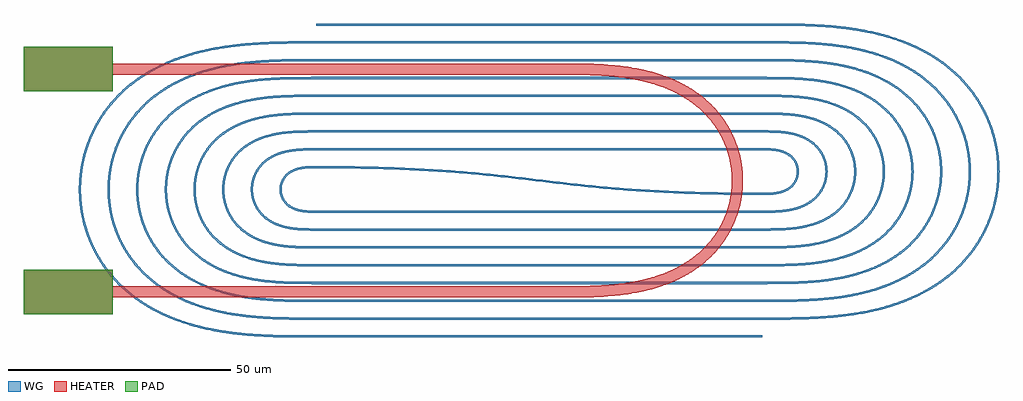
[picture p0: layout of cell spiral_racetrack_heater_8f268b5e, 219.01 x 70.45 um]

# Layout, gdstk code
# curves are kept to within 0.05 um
from math import pi, radians
import gdstk
lib = gdstk.Library(unit=1e-6, precision=1e-09)
def R(c, l, rs):  # rectangles x0, y0, x1, y1
    for r in rs: c.add(gdstk.rectangle(r[:2], r[2:], *l))
def P(c, l, *ps):  # polygons
    for p in ps: c.add(gdstk.Polygon(p, *l))
WG = (3, 0)
HEATER = (39, 0)
PAD = (41, 0)

bend_s_s100_m6_csstrip__ = lib.new_cell('bend_s_S100_m6_CSstrip__cffa29a1')
P(bend_s_s100_m6_csstrip__, WG, [(100,-6.225),(92.721,-6.18),(84.905,-6.015),(79.063,-5.797),(72.74,-5.453),(67.037,-5.035),(60.983,-4.475),(41.416,-2.23),(31.088,-1.267),(24.16,-0.814),(16.294,-0.473),(8.641,-0.29),(0,-0.225),(0,0.225),(7.279,0.18),(15.095,0.015),(20.937,-0.203),(27.26,-0.547),(32.963,-0.965),(39.017,-1.525),(58.584,-3.77),(68.912,-4.733),(75.84,-5.186),(83.706,-5.527),(91.359,-5.71),(100,-5.775)])

bend_euler_r5_a180_p0p5_ = lib.new_cell('bend_euler_R5_A180_P0p5_224e2057')
P(bend_euler_r5_a180_p0p5_, WG, [(0,-0.225),(0,0.225),(1.948,0.263),(3.51,0.454),(4.837,0.843),(5.895,1.405),(6.667,2.069),(7.263,2.89),(7.695,3.992),(7.814,5),(7.695,6.008),(7.263,7.11),(6.667,7.931),(5.895,8.595),(4.837,9.157),(3.51,9.546),(1.948,9.737),(0,9.775),(0,10.225),(1.975,10.186),(3.598,9.988),(4.835,9.641),(5.994,9.069),(6.868,8.372),(7.461,7.649),(7.901,6.825),(8.173,5.93),(8.264,5),(8.173,4.07),(7.901,3.175),(7.461,2.351),(6.868,1.628),(6.301,1.142),(5.511,0.655),(4.661,0.296),(3.777,0.05),(2.698,-0.125)])

straight_l100_csstrip_wn = lib.new_cell('straight_L100_CSstrip_WNone_N2')
R(straight_l100_csstrip_wn, WG, [(0,-0.225,100,0.225)])

bend_euler_r9_a180_p0p5_ = lib.new_cell('bend_euler_R9_A180_P0p5_431cc5ca')
P(bend_euler_r9_a180_p0p5_, WG, [(0,-0.225),(0,0.225),(3.973,0.325),(5.51,0.494),(6.856,0.748),(8.806,1.363),(10.465,2.217),(11.289,2.811),(12.037,3.501),(12.706,4.298),(13.265,5.175),(13.705,6.118),(13.974,6.942),(14.177,7.962),(14.245,9),(14.177,10.038),(13.974,11.058),(13.705,11.882),(13.265,12.825),(12.706,13.702),(12.037,14.499),(11.289,15.189),(10.465,15.783),(8.806,16.637),(6.856,17.252),(5.51,17.506),(3.973,17.675),(0,17.775),(0,18.225),(3.658,18.148),(5.054,18.021),(6.442,17.801),(7.641,17.513),(8.812,17.12),(9.783,16.688),(10.857,16.065),(12.107,15.066),(13.176,13.82),(13.66,13.042),(14.056,12.216),(14.534,10.639),(14.695,9),(14.534,7.361),(14.056,5.784),(13.279,4.332),(12.363,3.19),(11.149,2.138),(9.783,1.312),(8.315,0.698),(6.786,0.271),(4.879,-0.042),(2.785,-0.191)])

bend_euler_r13_a180_p0p_ = lib.new_cell('bend_euler_R13_A180_P0p_0f2faebe')
P(bend_euler_r13_a180_p0p_, WG, [(0,-0.225),(0,0.225),(3.289,0.252),(5.53,0.354),(7.587,0.56),(9.618,0.914),(11.113,1.298),(12.569,1.8),(13.972,2.432),(15.157,3.11),(16.399,4.008),(17.522,5.053),(18.403,6.106),(19.237,7.406),(19.891,8.805),(20.311,10.112),(20.574,11.459),(20.677,13),(20.574,14.541),(20.311,15.888),(19.891,17.195),(19.237,18.594),(18.403,19.894),(17.522,20.947),(16.399,21.992),(15.157,22.89),(13.972,23.568),(12.569,24.2),(11.113,24.702),(9.618,25.086),(7.587,25.44),(5.53,25.646),(3.289,25.748),(0,25.775),(0,26.225),(3.3,26.198),(5.562,26.095),(7.646,25.886),(9.371,25.598),(11.073,25.183),(12.735,24.619),(14.333,23.888),(15.694,23.076),(16.685,22.34),(17.601,21.511),(18.437,20.584),(19.073,19.724),(19.716,18.655),(20.176,17.689),(20.602,16.515),(20.904,15.305),(21.062,14.246),(21.127,13),(21.062,11.754),(20.869,10.521),(20.549,9.314),(20.176,8.311),(19.716,7.345),(19.073,6.276),(18.437,5.416),(17.726,4.616),(16.955,3.887),(15.984,3.124),(15.1,2.544),(14.02,1.952),(11.91,1.08),(9.371,0.402),(6.779,0.011),(3.996,-0.177)])

bend_euler_r17_a180_p0p_ = lib.new_cell('bend_euler_R17_A180_P0p_8af989a6')
P(bend_euler_r17_a180_p0p_, WG, [(0,-0.225),(0,0.225),(3.981,0.253),(7.087,0.384),(9.833,0.651),(12.378,1.082),(14.379,1.58),(16.331,2.238),(18.058,2.995),(19.849,4.002),(21.51,5.205),(23.006,6.605),(24.201,8.053),(25.209,9.637),(26.014,11.333),(26.647,13.281),(26.992,15.126),(27.108,17),(26.992,18.874),(26.647,20.719),(26.014,22.667),(25.209,24.363),(24.201,25.947),(23.006,27.395),(21.51,28.795),(19.849,29.998),(18.058,31.005),(16.331,31.762),(14.379,32.42),(12.378,32.918),(9.833,33.349),(7.087,33.616),(3.981,33.747),(0,33.775),(0,34.225),(3.991,34.197),(7.118,34.065),(9.545,33.839),(12.129,33.429),(14.505,32.852),(16.656,32.118),(18.57,31.25),(20.385,30.186),(21.66,29.254),(22.843,28.205),(23.917,27.043),(24.868,25.78),(25.603,24.581),(26.297,23.159),(26.844,21.675),(27.239,20.144),(27.478,18.58),(27.557,17.176),(27.495,15.595),(27.274,14.029),(26.896,12.493),(26.365,11.003),(25.687,9.574),(24.868,8.22),(24.029,7.092),(23.214,6.17),(22.198,5.198),(20.962,4.214),(19.643,3.346),(18.414,2.67),(17.142,2.081),(15.672,1.518),(14.168,1.053),(12.471,0.641),(9.199,0.121),(5.38,-0.156)])

bend_euler_r21_a180_p0p_ = lib.new_cell('bend_euler_R21_A180_P0p_6250e1cd')
P(bend_euler_r21_a180_p0p_, WG, [(0,-0.225),(0,0.225),(4.99,0.261),(8.766,0.422),(12.35,0.778),(15.388,1.302),(17.876,1.93),(20.302,2.758),(22.485,3.73),(24.562,4.908),(26.63,6.409),(28.377,8.037),(29.816,9.75),(31.127,11.772),(32.169,13.944),(32.926,16.231),(33.385,18.596),(33.539,21),(33.385,23.404),(32.926,25.769),(32.169,28.056),(31.127,30.228),(29.816,32.25),(28.377,33.963),(26.63,35.591),(24.562,37.092),(22.485,38.27),(20.302,39.242),(17.876,40.07),(15.388,40.698),(12.35,41.222),(8.766,41.578),(4.99,41.739),(0,41.775),(0,42.225),(5,42.189),(8.796,42.027),(11.895,41.735),(14.972,41.243),(18.003,40.502),(20.628,39.597),(23.151,38.433),(25.385,37.088),(26.916,35.939),(28.335,34.651),(29.635,33.213),(30.784,31.652),(31.772,29.984),(32.52,28.388),(33.171,26.562),(33.635,24.68),(33.909,22.761),(33.989,21),(33.892,19.064),(33.601,17.147),(33.119,15.269),(32.451,13.449),(31.605,11.705),(30.587,10.055),(29.523,8.65),(28.459,7.474),(27.183,6.285),(25.812,5.212),(24.361,4.253),(22.842,3.406),(21.11,2.6),(19.161,1.864),(17.335,1.31),(15.482,0.862),(13.438,0.483),(11.036,0.166),(6.553,-0.143)])

bend_euler_r25_a180_p0p_ = lib.new_cell('bend_euler_R25_A180_P0p_11fb0ebf')
P(bend_euler_r25_a180_p0p_, WG, [(0,-0.225),(0,0.225),(5.856,0.266),(10.495,0.463),(14.596,0.869),(17.98,1.436),(20.978,2.165),(24.064,3.196),(26.724,4.37),(29.109,5.709),(31.476,7.39),(32.643,8.389),(33.624,9.341),(34.66,10.485),(35.513,11.559),(36.392,12.828),(37.099,14.003),(37.807,15.374),(38.356,16.631),(39.219,19.234),(39.53,20.57),(39.782,22.093),(39.97,24.829),(39.824,27.567),(39.595,29.093),(39.262,30.6),(38.827,32.08),(38.356,33.369),(37.182,35.847),(36.484,37.028),(35.615,38.303),(33.861,40.411),(32.769,41.495),(31.741,42.394),(30.525,43.335),(29.253,44.2),(26.724,45.63),(24.064,46.804),(20.978,47.835),(17.98,48.564),(14.596,49.131),(10.495,49.537),(5.856,49.734),(0,49.775),(0,50.225),(5.865,50.184),(10.525,49.986),(14.484,49.6),(18.071,49.005),(21.6,48.122),(24.71,47.032),(27.543,45.715),(30.22,44.1),(32.161,42.63),(33.825,41.097),(35.337,39.401),(36.579,37.709),(37.743,35.756),(38.708,33.698),(39.464,31.555),(40.005,29.347),(40.325,27.096),(40.42,24.825),(40.29,22.556),(39.936,20.31),(39.414,18.278),(38.641,16.14),(37.576,13.936),(36.383,12.002),(35.116,10.329),(33.825,8.903),(32.294,7.482),(30.648,6.199),(28.606,4.877),(26.77,3.89),(24.71,2.968),(22.758,2.246),(20.6,1.594),(18.24,1.03),(15.855,0.596),(13.109,0.238),(10.525,0.014),(7.764,-0.129)])

bend_euler_r29_a180_p0p_ = lib.new_cell('bend_euler_R29_A180_P0p_81cbb6b6')
P(bend_euler_r29_a180_p0p_, WG, [(0,-0.225),(0,0.225),(6.721,0.271),(12.052,0.493),(16.502,0.916),(20.572,1.571),(24.244,2.449),(27.825,3.634),(30.963,5.011),(33.8,6.601),(35.361,7.653),(36.586,8.586),(37.885,9.7),(39.109,10.893),(40.142,12.033),(41.21,13.369),(42.187,14.771),(43.071,16.235),(43.783,17.599),(44.478,19.161),(45.07,20.765),(45.512,22.238),(45.9,23.903),(46.178,25.59),(46.346,27.291),(46.402,29),(46.346,30.709),(46.178,32.41),(45.9,34.097),(45.512,35.762),(45.07,37.235),(44.478,38.839),(43.783,40.401),(43.071,41.765),(42.187,43.229),(41.21,44.631),(40.142,45.967),(39.109,47.107),(37.885,48.3),(36.586,49.414),(35.361,50.347),(33.8,51.399),(30.963,52.989),(27.825,54.366),(24.244,55.551),(20.572,56.429),(16.502,57.084),(12.052,57.507),(6.721,57.729),(0,57.775),(0,58.225),(6.903,58.175),(12.082,57.956),(16.73,57.509),(20.829,56.836),(24.699,55.889),(26.682,55.26),(28.471,54.596),(30.224,53.842),(31.782,53.077),(33.597,52.054),(35.056,51.112),(37.272,49.433),(39.191,47.668),(40.82,45.859),(42.469,43.619),(43.795,41.374),(44.895,39.009),(45.757,36.548),(46.375,34.014),(46.756,31.258),(46.85,28.652),(46.706,26.222),(46.307,23.645),(45.656,21.119),(44.762,18.67),(43.548,16.167),(42.276,14.091),(40.82,12.141),(39.313,10.456),(37.669,8.905),(35.625,7.288),(33.597,5.946),(31.318,4.685),(28.953,3.601),(26.354,2.628),(23.865,1.877),(21.169,1.234),(18.443,0.736),(15.355,0.328),(12.082,0.044),(8.975,-0.115)])

bend_euler_r33_a180_p0p_ = lib.new_cell('bend_euler_R33_A180_P0p_84bc783a')
P(bend_euler_r33_a180_p0p_, WG, [(0,-0.225),(0,0.225),(7.902,0.283),(13.73,0.531),(18.85,1.02),(23.583,1.791),(27.577,2.751),(31.317,3.971),(33.221,4.736),(35.084,5.593),(36.75,6.463),(38.369,7.417),(39.935,8.454),(41.573,9.683),(43.004,10.899),(44.358,12.201),(45.636,13.595),(46.925,15.203),(48.007,16.753),(48.988,18.369),(49.865,20.044),(50.633,21.771),(51.29,23.543),(51.834,25.353),(52.261,27.194),(52.571,29.059),(52.762,30.939),(52.833,32.828),(52.793,34.546),(52.635,36.43),(52.326,38.468),(51.92,40.314),(51.398,42.131),(50.761,43.91),(49.939,45.801),(49.072,47.481),(48.007,49.247),(47.028,50.659),(45.969,52.012),(44.597,53.551),(43.256,54.871),(41.839,56.102),(40.352,57.248),(38.658,58.401),(37.048,59.369),(35.39,60.255),(33.691,61.059),(31.796,61.846),(29.866,62.543),(27.906,63.155),(25.756,63.726),(23.583,64.209),(18.85,64.98),(13.73,65.469),(7.902,65.717),(0,65.775),(0,66.225),(7.912,66.167),(13.761,65.918),(18.736,65.448),(21.126,65.109),(23.672,64.65),(26.197,64.081),(28.197,63.539),(30.336,62.859),(32.601,62.011),(34.503,61.184),(36.513,60.179),(38.165,59.237),(39.767,58.209),(42.391,56.23),(44.435,54.361),(46.426,52.165),(48.095,49.928),(49.716,47.241),(50.984,44.561),(51.982,41.769),(52.703,38.894),(53.138,35.961),(53.283,33.174),(53.138,30.039),(52.703,27.106),(51.982,24.231),(50.984,21.439),(49.716,18.759),(48.095,16.072),(46.646,14.106),(44.802,12.012),(42.917,10.22),(40.616,8.388),(38.313,6.853),(35.746,5.421),(33.08,4.187),(30.173,3.085),(27.2,2.18),(24.179,1.455),(20.955,0.864),(17.366,0.393),(13.761,0.082),(10.149,-0.102),(6.363,-0.195)])

spiral_racetrack_gdsfac_ = lib.new_cell('spiral_racetrack_gdsfac_e184ab77')
spiral_racetrack_gdsfac_.add(gdstk.Reference(bend_s_s100_m6_csstrip__, (0,0)))
spiral_racetrack_gdsfac_.add(gdstk.Reference(bend_euler_r5_a180_p0p5_, (0,0), rotation=pi))
spiral_racetrack_gdsfac_.add(gdstk.Reference(straight_l100_csstrip_wn, (0,-10)))
spiral_racetrack_gdsfac_.add(gdstk.Reference(bend_euler_r9_a180_p0p5_, (100,-10)))
spiral_racetrack_gdsfac_.add(gdstk.Reference(straight_l100_csstrip_wn, (100,8), rotation=pi))
spiral_racetrack_gdsfac_.add(gdstk.Reference(bend_euler_r13_a180_p0p_, (0,8), rotation=pi))
spiral_racetrack_gdsfac_.add(gdstk.Reference(straight_l100_csstrip_wn, (0,-18)))
spiral_racetrack_gdsfac_.add(gdstk.Reference(bend_euler_r17_a180_p0p_, (100,-18)))
spiral_racetrack_gdsfac_.add(gdstk.Reference(straight_l100_csstrip_wn, (100,16), rotation=pi))
spiral_racetrack_gdsfac_.add(gdstk.Reference(bend_euler_r21_a180_p0p_, (0,16), rotation=pi))
spiral_racetrack_gdsfac_.add(gdstk.Reference(straight_l100_csstrip_wn, (0,-26)))
spiral_racetrack_gdsfac_.add(gdstk.Reference(bend_euler_r25_a180_p0p_, (100,-26)))
spiral_racetrack_gdsfac_.add(gdstk.Reference(straight_l100_csstrip_wn, (100,24), rotation=pi))
spiral_racetrack_gdsfac_.add(gdstk.Reference(bend_euler_r29_a180_p0p_, (0,24), rotation=pi))
spiral_racetrack_gdsfac_.add(gdstk.Reference(straight_l100_csstrip_wn, (0,-34)))
spiral_racetrack_gdsfac_.add(gdstk.Reference(bend_euler_r33_a180_p0p_, (100,-34)))
spiral_racetrack_gdsfac_.add(gdstk.Reference(straight_l100_csstrip_wn, (100,32), rotation=pi))
spiral_racetrack_gdsfac_.add(gdstk.Reference(bend_euler_r5_a180_p0p5_, (100,-6)))
spiral_racetrack_gdsfac_.add(gdstk.Reference(straight_l100_csstrip_wn, (100,4), rotation=pi))
spiral_racetrack_gdsfac_.add(gdstk.Reference(bend_euler_r9_a180_p0p5_, (0,4), rotation=pi))
spiral_racetrack_gdsfac_.add(gdstk.Reference(straight_l100_csstrip_wn, (0,-14)))
spiral_racetrack_gdsfac_.add(gdstk.Reference(bend_euler_r13_a180_p0p_, (100,-14)))
spiral_racetrack_gdsfac_.add(gdstk.Reference(straight_l100_csstrip_wn, (100,12), rotation=pi))
spiral_racetrack_gdsfac_.add(gdstk.Reference(bend_euler_r17_a180_p0p_, (0,12), rotation=pi))
spiral_racetrack_gdsfac_.add(gdstk.Reference(straight_l100_csstrip_wn, (0,-22)))
spiral_racetrack_gdsfac_.add(gdstk.Reference(bend_euler_r21_a180_p0p_, (100,-22)))
spiral_racetrack_gdsfac_.add(gdstk.Reference(straight_l100_csstrip_wn, (100,20), rotation=pi))
spiral_racetrack_gdsfac_.add(gdstk.Reference(bend_euler_r25_a180_p0p_, (0,20), rotation=pi))
spiral_racetrack_gdsfac_.add(gdstk.Reference(straight_l100_csstrip_wn, (0,-30)))
spiral_racetrack_gdsfac_.add(gdstk.Reference(bend_euler_r29_a180_p0p_, (100,-30)))
spiral_racetrack_gdsfac_.add(gdstk.Reference(straight_l100_csstrip_wn, (100,28), rotation=pi))
spiral_racetrack_gdsfac_.add(gdstk.Reference(bend_euler_r33_a180_p0p_, (0,28), rotation=pi))
spiral_racetrack_gdsfac_.add(gdstk.Reference(straight_l100_csstrip_wn, (0,-38)))

straight_gdsfactorypcom_ = lib.new_cell('straight_gdsfactorypcom_262b2f90')
R(straight_gdsfactorypcom_, HEATER, [(0,-1.25,100,1.25)])

c_bend_euler_r25_a180_p0p_ = lib.new_cell('bend_euler_R25_A180_P0p_ce329588')
P(c_bend_euler_r25_a180_p0p_, HEATER, [(0,-1.25),(0,1.25),(5.834,1.291),(9.917,1.453),(13.792,1.8),(17.446,2.374),(20.858,3.197),(23.848,4.212),(26.707,5.512),(29.251,7.025),(31.339,8.606),(33.226,10.411),(34.884,12.436),(36.284,14.647),(37.465,17.165),(38.228,19.497),(38.744,22.063),(38.945,24.836),(38.805,27.45),(38.349,30.027),(37.582,32.529),(36.44,35.065),(35.074,37.297),(33.447,39.347),(31.586,41.181),(29.387,42.883),(26.853,44.411),(24.002,45.727),(20.858,46.803),(17.446,47.626),(13.792,48.2),(9.917,48.547),(5.834,48.709),(0,48.75),(0,51.25),(6.061,51.205),(10.42,51.02),(14.442,50.639),(17.929,50.079),(21.21,49.302),(24.429,48.244),(27.383,46.949),(30.198,45.346),(32.256,43.874),(34.036,42.327),(35.668,40.606),(37.018,38.879),(38.295,36.877),(39.369,34.759),(40.227,32.545),(40.862,30.256),(41.267,27.917),(41.439,25.548),(41.376,23.174),(41.078,20.818),(40.498,18.328),(39.725,16.083),(38.733,13.925),(37.533,11.876),(36.363,10.242),(35.06,8.712),(33.504,7.179),(31.827,5.794),(29.894,4.46),(27.864,3.296),(25.921,2.366),(23.591,1.449),(21.21,0.698),(18.797,0.101),(16.362,-0.361),(13.568,-0.743),(11.119,-0.971),(7.976,-1.147)])

compass_gdsfactorypcomp_ = lib.new_cell('compass_gdsfactorypcomp_5faab884')
R(compass_gdsfactorypcomp_, HEATER, [(-10,-5,10,5)])

c_compass_gdsfactorypcomp_ = lib.new_cell('compass_gdsfactorypcomp_3ff70b43')
R(c_compass_gdsfactorypcomp_, PAD, [(-10,-5,10,5)])

via_stack_heater_mtop_s2 = lib.new_cell('via_stack_heater_mtop_S20_10')
via_stack_heater_mtop_s2.add(gdstk.Reference(compass_gdsfactorypcomp_, (0,0)))
via_stack_heater_mtop_s2.add(gdstk.Reference(c_compass_gdsfactorypcomp_, (0,0)))

spiral_racetrack_heater_ = lib.new_cell('spiral_racetrack_heater_8f268b5e')
spiral_racetrack_heater_.add(gdstk.Reference(spiral_racetrack_gdsfac_, (0,0)))
spiral_racetrack_heater_.add(gdstk.Reference(straight_gdsfactorypcom_, (54.277,-28), rotation=pi))
spiral_racetrack_heater_.add(gdstk.Reference(straight_gdsfactorypcom_, (54.277,22), rotation=pi))
spiral_racetrack_heater_.add(gdstk.Reference(c_bend_euler_r25_a180_p0p_, (54.277,-28)))
spiral_racetrack_heater_.add(gdstk.Reference(via_stack_heater_mtop_s2, (-55.723,22)))
spiral_racetrack_heater_.add(gdstk.Reference(via_stack_heater_mtop_s2, (-55.723,-28)))

lib.write_gds('spiral_racetrack_heater_8f268b5e.gds')
